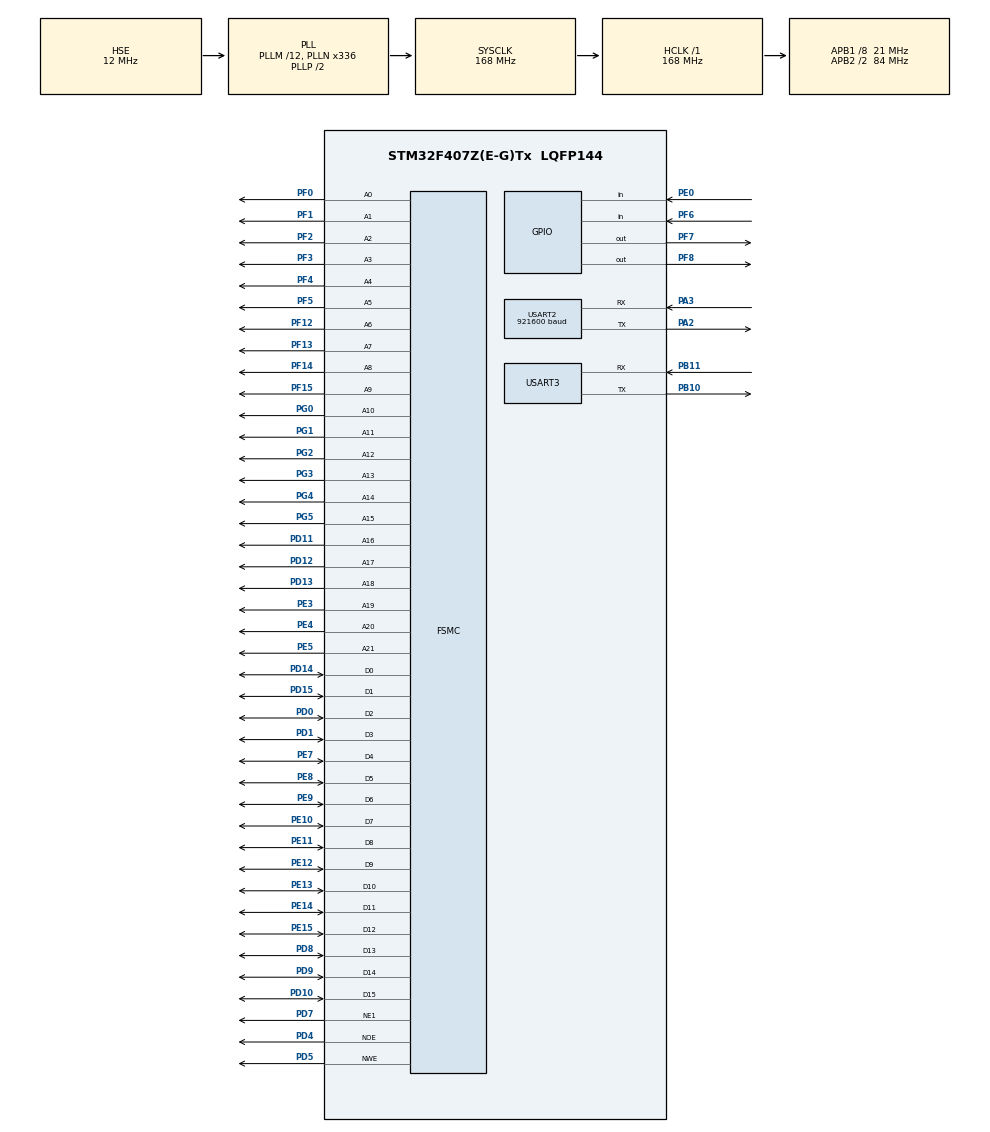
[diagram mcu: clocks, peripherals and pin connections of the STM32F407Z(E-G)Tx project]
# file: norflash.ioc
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Dma.Request0=USART3_RX
Dma.Request1=USART3_TX
Dma.Request2=USART2_RX
Dma.Request3=USART2_TX
Dma.USART2_RX.2.Direction=DMA_PERIPH_TO_MEMORY
Dma.USART2_RX.2.FIFOMode=DMA_FIFOMODE_DISABLE
Dma.USART2_RX.2.Instance=DMA1_Stream5
Dma.USART2_RX.2.MemDataAlignment=DMA_MDATAALIGN_BYTE
Dma.USART2_RX.2.MemInc=DMA_MINC_ENABLE
Dma.USART2_RX.2.Mode=DMA_NORMAL
Dma.USART2_RX.2.PeriphDataAlignment=DMA_PDATAALIGN_BYTE
Dma.USART2_RX.2.PeriphInc=DMA_PINC_DISABLE
Dma.USART2_RX.2.Priority=DMA_PRIORITY_LOW
Dma.USART2_TX.3.Direction=DMA_MEMORY_TO_PERIPH
Dma.USART2_TX.3.FIFOMode=DMA_FIFOMODE_DISABLE
Dma.USART2_TX.3.Instance=DMA1_Stream6
Dma.USART2_TX.3.MemDataAlignment=DMA_MDATAALIGN_BYTE
Dma.USART2_TX.3.MemInc=DMA_MINC_ENABLE
Dma.USART2_TX.3.Mode=DMA_NORMAL
Dma.USART2_TX.3.PeriphDataAlignment=DMA_PDATAALIGN_BYTE
Dma.USART2_TX.3.PeriphInc=DMA_PINC_DISABLE
Dma.USART2_TX.3.Priority=DMA_PRIORITY_LOW
Dma.USART3_RX.0.Direction=DMA_PERIPH_TO_MEMORY
Dma.USART3_RX.0.FIFOMode=DMA_FIFOMODE_DISABLE
Dma.USART3_RX.0.Instance=DMA1_Stream1
Dma.USART3_RX.0.MemDataAlignment=DMA_MDATAALIGN_BYTE
Dma.USART3_RX.0.MemInc=DMA_MINC_ENABLE
Dma.USART3_RX.0.Mode=DMA_NORMAL
Dma.USART3_RX.0.PeriphDataAlignment=DMA_PDATAALIGN_BYTE
Dma.USART3_RX.0.PeriphInc=DMA_PINC_DISABLE
Dma.USART3_RX.0.Priority=DMA_PRIORITY_LOW
Dma.USART3_TX.1.Direction=DMA_MEMORY_TO_PERIPH
Dma.USART3_TX.1.FIFOMode=DMA_FIFOMODE_DISABLE
Dma.USART3_TX.1.Instance=DMA1_Stream3
Dma.USART3_TX.1.MemDataAlignment=DMA_MDATAALIGN_BYTE
Dma.USART3_TX.1.MemInc=DMA_MINC_ENABLE
Dma.USART3_TX.1.Mode=DMA_NORMAL
Dma.USART3_TX.1.PeriphDataAlignment=DMA_PDATAALIGN_BYTE
Dma.USART3_TX.1.PeriphInc=DMA_PINC_DISABLE
Dma.USART3_TX.1.Priority=DMA_PRIORITY_LOW
FSMC.DataSetupTime1=40
FSMC.WriteOperation1=FSMC_WRITE_OPERATION_ENABLE
Mcu.Family=STM32F4
Mcu.Name=STM32F407Z(E-G)Tx
Mcu.Package=LQFP144
NVIC.DMA1_Stream1_IRQn=true\:0\:0\:false\:false\:true\:false\:true\:true
NVIC.DMA1_Stream3_IRQn=true\:0\:0\:false\:false\:true\:false\:true\:true
NVIC.DMA1_Stream5_IRQn=true\:0\:0\:false\:false\:true\:false\:true\:true
NVIC.DMA1_Stream6_IRQn=true\:0\:0\:false\:false\:true\:false\:true\:true
NVIC.PriorityGroup=NVIC_PRIORITYGROUP_4
NVIC.USART2_IRQn=true\:2\:0\:true\:true\:true\:1\:true\:true\:true
NVIC.USART3_IRQn=true\:2\:0\:true\:false\:true\:true\:true\:true
PA13.Mode=Serial_Wire
PA13.Signal=SYS_JTMS-SWDIO
PA14.Mode=Serial_Wire
PA14.Signal=SYS_JTCK-SWCLK
PA2.Mode=Asynchronous
PA2.Signal=USART2_TX
PA3.Mode=Asynchronous
PA3.Signal=USART2_RX
PB10.Mode=Asynchronous
PB10.Signal=USART3_TX
PB11.Mode=Asynchronous
PB11.Signal=USART3_RX
PC14-OSC32_IN.Mode=LSE-External-Oscillator
PC14-OSC32_IN.Signal=RCC_OSC32_IN
PC15-OSC32_OUT.Mode=LSE-External-Oscillator
PC15-OSC32_OUT.Signal=RCC_OSC32_OUT
PD0.Signal=FSMC_D2_DA2
PD1.Signal=FSMC_D3_DA3
PD10.Signal=FSMC_D15_DA15
PD11.Signal=FSMC_A16_CLE
PD12.Signal=FSMC_A17_ALE
PD13.Signal=FSMC_A18
PD14.Signal=FSMC_D0_DA0
PD15.Signal=FSMC_D1_DA1
PD4.Signal=FSMC_NOE
PD5.Signal=FSMC_NWE
PD7.Mode=NorPsramChipSelect1_1
PD7.Signal=FSMC_NE1
PD8.Signal=FSMC_D13_DA13
PD9.Signal=FSMC_D14_DA14
PE0.Signal=GPIO_Input
PE10.Signal=FSMC_D7_DA7
PE11.Signal=FSMC_D8_DA8
PE12.Signal=FSMC_D9_DA9
PE13.Signal=FSMC_D10_DA10
PE14.Signal=FSMC_D11_DA11
PE15.Signal=FSMC_D12_DA12
PE3.Signal=FSMC_A19
PE4.Signal=FSMC_A20
PE5.Signal=FSMC_A21
PE7.Signal=FSMC_D4_DA4
PE8.Signal=FSMC_D5_DA5
PE9.Signal=FSMC_D6_DA6
PF0.Signal=FSMC_A0
PF1.Signal=FSMC_A1
PF12.Signal=FSMC_A6
PF13.Signal=FSMC_A7
PF14.Signal=FSMC_A8
PF15.Signal=FSMC_A9
PF2.Signal=FSMC_A2
PF3.Signal=FSMC_A3
PF4.Signal=FSMC_A4
PF5.Signal=FSMC_A5
PF6.Signal=GPIO_Input
PF7.PinState=GPIO_PIN_SET
PF7.Signal=GPIO_Output
PF8.PinState=GPIO_PIN_SET
PF8.Signal=GPIO_Output
PG0.Signal=FSMC_A10
PG1.Signal=FSMC_A11
PG2.Signal=FSMC_A12
PG3.Signal=FSMC_A13
PG4.Signal=FSMC_A14
PG5.Signal=FSMC_A15
PH0-OSC_IN.Mode=HSE-External-Oscillator
PH0-OSC_IN.Signal=RCC_OSC_IN
PH1-OSC_OUT.Mode=HSE-External-Oscillator
PH1-OSC_OUT.Signal=RCC_OSC_OUT
ProjectManager.HeapSize=0x200
ProjectManager.StackSize=0x800
ProjectManager.TargetToolchain=STM32CubeIDE
RCC.48MHZClocksFreq_Value=42000000
RCC.AHBFreq_Value=168000000
RCC.APB1CLKDivider=RCC_HCLK_DIV8
RCC.APB1Freq_Value=21000000
RCC.APB1TimFreq_Value=42000000
RCC.APB2CLKDivider=RCC_HCLK_DIV2
RCC.APB2Freq_Value=84000000
RCC.APB2TimFreq_Value=168000000
RCC.CortexFreq_Value=168000000
RCC.HCLKFreq_Value=168000000
RCC.HSE_VALUE=12000000
RCC.HSI_VALUE=16000000
RCC.PLLM=12
RCC.PLLN=336
RCC.PLLQ=8
RCC.PLLSourceVirtual=RCC_PLLSOURCE_HSE
RCC.SYSCLKFreq_VALUE=168000000
RCC.SYSCLKSource=RCC_SYSCLKSOURCE_PLLCLK
RCC.VCOOutputFreq_Value=336000000
SH.FSMC_A0.0=FSMC_A0,22b-a1
SH.FSMC_A1.0=FSMC_A1,22b-a1
SH.FSMC_A10.0=FSMC_A10,22b-a1
SH.FSMC_A11.0=FSMC_A11,22b-a1
SH.FSMC_A12.0=FSMC_A12,22b-a1
SH.FSMC_A13.0=FSMC_A13,22b-a1
SH.FSMC_A14.0=FSMC_A14,22b-a1
SH.FSMC_A15.0=FSMC_A15,22b-a1
SH.FSMC_A16_CLE.0=FSMC_A16,22b-a1
SH.FSMC_A17_ALE.0=FSMC_A17,22b-a1
SH.FSMC_A18.0=FSMC_A18,22b-a1
SH.FSMC_A19.0=FSMC_A19,22b-a1
SH.FSMC_A2.0=FSMC_A2,22b-a1
SH.FSMC_A20.0=FSMC_A20,22b-a1
SH.FSMC_A21.0=FSMC_A21,22b-a1
SH.FSMC_A3.0=FSMC_A3,22b-a1
SH.FSMC_A4.0=FSMC_A4,22b-a1
SH.FSMC_A5.0=FSMC_A5,22b-a1
SH.FSMC_A6.0=FSMC_A6,22b-a1
SH.FSMC_A7.0=FSMC_A7,22b-a1
SH.FSMC_A8.0=FSMC_A8,22b-a1
SH.FSMC_A9.0=FSMC_A9,22b-a1
SH.FSMC_D0_DA0.0=FSMC_D0,16b-d1
SH.FSMC_D10_DA10.0=FSMC_D10,16b-d1
SH.FSMC_D11_DA11.0=FSMC_D11,16b-d1
SH.FSMC_D12_DA12.0=FSMC_D12,16b-d1
SH.FSMC_D13_DA13.0=FSMC_D13,16b-d1
SH.FSMC_D14_DA14.0=FSMC_D14,16b-d1
SH.FSMC_D15_DA15.0=FSMC_D15,16b-d1
SH.FSMC_D1_DA1.0=FSMC_D1,16b-d1
SH.FSMC_D2_DA2.0=FSMC_D2,16b-d1
SH.FSMC_D3_DA3.0=FSMC_D3,16b-d1
SH.FSMC_D4_DA4.0=FSMC_D4,16b-d1
SH.FSMC_D5_DA5.0=FSMC_D5,16b-d1
SH.FSMC_D6_DA6.0=FSMC_D6,16b-d1
SH.FSMC_D7_DA7.0=FSMC_D7,16b-d1
SH.FSMC_D8_DA8.0=FSMC_D8,16b-d1
SH.FSMC_D9_DA9.0=FSMC_D9,16b-d1
SH.FSMC_NOE.0=FSMC_NOE,NorFlash1
SH.FSMC_NWE.0=FSMC_NWE,NorFlash1
USART2.BaudRate=921600
USART2.VirtualMode=VM_ASYNC
USART3.VirtualMode=VM_ASYNC
board=custom

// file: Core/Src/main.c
/* USER CODE BEGIN Header */
/**
  ******************************************************************************
  * @file           : main.c
  * @brief          : Main program body
  ******************************************************************************
  * @attention
  *
  * Copyright (c) 2024 STMicroelectronics.
  * All rights reserved.
  *
  * This software is licensed under terms that can be found in the LICENSE file
  * in the root directory of this software component.
  * If no LICENSE file comes with this software, it is provided AS-IS.
  *
  ******************************************************************************
  */
/* USER CODE END Header */
#include "main.h"

/* USER CODE BEGIN Includes */
#include <stdio.h>
#include <string.h>
#include <stdarg.h>
#include "norflash.h"

/* USER CODE END Includes */

UART_HandleTypeDef huart2;
UART_HandleTypeDef huart3;
DMA_HandleTypeDef hdma_usart2_rx;
DMA_HandleTypeDef hdma_usart2_tx;
DMA_HandleTypeDef hdma_usart3_rx;
DMA_HandleTypeDef hdma_usart3_tx;

NOR_HandleTypeDef hnor1;

/* USER CODE BEGIN PV */

#define FIRMWARE_BUFFER_SIZE 1024
uint8_t uartRxBuffer[FIRMWARE_BUFFER_SIZE];

#define PACKET_TYPE_WRITE_FIRMWARE    0x01
#define PACKET_TYPE_READ_FIRMWARE     0x02
#define PACKET_TYPE_WRITE_DATA        0x03
#define PACKET_TYPE_READ_DATA         0x04
#define PACKET_TYPE_RESPONSE          0x80
#define PACKET_TYPE_MSG				  0x05
#define PACKET_TYPE_ERASE_BLOCK		  0x06
#define PACKET_TYPE_ERASE_ALL		  0x07
#define PACKET_TYPE_TEST			  0x08
#define PACKET_TYPE_RESET			  0x09

#define CMD_START                     0x01
#define CMD_DATA                      0x02
#define CMD_END                       0x03
#define CMD_ERROR                     0xFF

#define RESPONSE_OK                   0x00
#define RESPONSE_ERROR               0x01

#define MSG_BUF_SIZE 256

/* USER CODE END PD */

/* USER CODE BEGIN PTD */
#pragma pack(1)
typedef struct {
    uint8_t  packetType;
    uint8_t  command;
    uint32_t length;
    uint32_t addr;
    uint16_t crc;
} UartPacket;

typedef struct {
    uint8_t  packetType;
    uint8_t  status;
    uint16_t crc;
} UartResponse;

#pragma pack()

// Add DMA buffers and flags
#define DMA_RX_BUFFER_SIZE sizeof(UartPacket)
uint8_t dmaRxBuffer[DMA_RX_BUFFER_SIZE];
volatile uint8_t rxComplete = 0;

/* USER CODE END PV */

void SystemClock_Config(void);
static void MX_GPIO_Init(void);
static void MX_DMA_Init(void);
static void MX_FSMC_Init(void);
static void MX_USART2_UART_Init(void);
static void MX_USART3_UART_Init(void);
static void MX_NVIC_Init(void);

/* USER CODE BEGIN 0 */

int fputc(int ch, FILE *f) {
    HAL_UART_Transmit(&huart3, (uint8_t *)&ch, 1, HAL_MAX_DELAY);
    return ch;
}

int __io_putchar(int ch) {
    HAL_UART_Transmit(&huart3, (uint8_t *)&ch, 1, HAL_MAX_DELAY);
    return ch;
}

// CRC16
uint16_t CalculateCRC16(const uint8_t* data, uint32_t length) {
    uint16_t crc = 0xFFFF;

    for (uint32_t i = 0; i < length; i++) {
        crc ^= (uint16_t)data[i];
        for (int j = 0; j < 8; j++) {
            if (crc & 0x0001) {
                crc = (crc >> 1) ^ 0xA001;
            } else {
                crc >>= 1;
            }
        }
    }

    return crc;
}

void SendResponse(uint8_t originalType, uint8_t status) {
    UartResponse response = {
        .packetType = PACKET_TYPE_RESPONSE | originalType,
        .status = status
    };
    response.crc = CalculateCRC16((uint8_t*)&response, sizeof(UartResponse) - 2);
     // 使用阻塞式发送替代DMA
    HAL_UART_Transmit(&huart2, (uint8_t*)&response, sizeof(UartResponse), HAL_MAX_DELAY);
}

HAL_StatusTypeDef HandleFirmwareWrite(const UartPacket* packet) {
    uint32_t totalSize = packet->length;
    uint32_t remainingBytes = totalSize;
    uint32_t currentAddr = packet->addr;
    HAL_StatusTypeDef status;

    printf("HandleFirmwareWrite\r\n");
    printf("totalSize:%08x\r\n", (unsigned int)totalSize);
    printf("currentAddr:%08x\r\n", (unsigned int)currentAddr);

    HAL_UART_DMAStop(&huart2);
    HAL_UART_AbortReceive(&huart2);

    SendResponse(packet->packetType, RESPONSE_OK);

    while (remainingBytes > 0) {
        //printf("remainingBytes:%d\r\n", (int)remainingBytes);

        uint32_t blockSize = (remainingBytes>FIRMWARE_BUFFER_SIZE)?FIRMWARE_BUFFER_SIZE:remainingBytes;

        // 添加接收前的调试信息
        //printf("Waiting for data block, size: %d bytes\r\n", (int)blockSize);

        // 1. 使用HAL_UART_Receive接收数据
         // 每次接收前重置UART状�??
        HAL_UART_AbortReceive(&huart2);

        status = HAL_UART_Receive(&huart2, uartRxBuffer, blockSize, 5000);
        if (status != HAL_OK) {
            printf("UART receive failed, status: %d\r\n", (int)status);
            printf("HAL_UART_STATE: %d\r\n", (int)HAL_UART_GetState(&huart2));
            SendResponse(packet->packetType, RESPONSE_ERROR);
            return HAL_ERROR;
        }

        // 添加接收成功的调试信�???
        //printf("Data received successfully\r\n");

        //printf("nor flash write addr: 0x%08x, size: %d\r\n",
        //       (unsigned int)currentAddr, (int)blockSize);

        // 2. �???查NOR Flash写入结果
        //NOR_Status nor_status = HAL_NOR_ProgramBuffer(&hnor1, currentAddr, (uint16_t*)uartRxBuffer,
        //		blockSize/2);
        NOR_Status nor_status = FSMC_NOR_ProgramBuffer_Extended(&hnor1, (uint16_t*)uartRxBuffer,
                                                    currentAddr, blockSize/2);

        if (nor_status != NOR_SUCCESS) {
            printf("NOR write failed: %d\r\n", (int)nor_status);
            SendResponse(packet->packetType, RESPONSE_ERROR);
            return HAL_ERROR;
        }

        //printf("NOR write successful\r\n");

        remainingBytes -= blockSize;
        currentAddr += blockSize;

        //printf("Sending response\r\n");
        SendResponse(packet->packetType, RESPONSE_OK);
        //printf("Response sent, remaining: %d\r\n", (int)remainingBytes);

        // 添加短暂延时，确保上位机有足够时间处�???
        //HAL_Delay(1);
    }

    printf("HandleFirmwareWrite complete\r\n");
    return HAL_OK;
}

HAL_StatusTypeDef HandleFirmwareRead(const UartPacket* packet) {
    uint32_t readSize = packet->length;
    uint32_t remainingBytes = readSize;
    uint32_t currentAddr = packet->addr;

    SendResponse(packet->packetType, RESPONSE_OK);

    while (remainingBytes > 0) {
        uint32_t blockSize = (remainingBytes > FIRMWARE_BUFFER_SIZE) ?
                            FIRMWARE_BUFFER_SIZE : remainingBytes;

        UartPacket dataPacket = {
            .packetType = packet->packetType,
            .command = CMD_DATA,
            .length = blockSize,
            .addr = currentAddr
        };
        dataPacket.crc = CalculateCRC16((uint8_t*)&dataPacket, sizeof(UartPacket) - 2);

        if (HAL_UART_Transmit(&huart2, (uint8_t*)&dataPacket, sizeof(UartPacket), 1000) != HAL_OK) {
            return HAL_ERROR;
        }

        FSMC_NOR_ReadBuffer((uint16_t*)uartRxBuffer, currentAddr, blockSize/2);

        if (HAL_UART_Transmit(&huart2, uartRxBuffer, blockSize, 10000) != HAL_OK) {
            return HAL_ERROR;
        }

        remainingBytes -= blockSize;
        currentAddr += blockSize;

        UartResponse response;
        if (HAL_UART_Receive(&huart2, (uint8_t*)&response, sizeof(UartResponse), 5000) != HAL_OK) {
            return HAL_ERROR;
        }
    }

    return HAL_OK;
}

HAL_StatusTypeDef HandleEraseAll(const UartPacket* packet)
{
	printf("HandleEraseAll\r\n");
	NOR_Status ret = FSMC_NOR_EraseChip();
	printf("HandleEraseAll ret:%d\r\n", (int)ret);
	if(ret != HAL_NOR_STATUS_SUCCESS)
		return HAL_ERROR;
	else{
		SendResponse(packet->packetType, RESPONSE_OK);
		return HAL_OK;
	}

}

HAL_StatusTypeDef HandleEraseBlock(const UartPacket* packet) {

    uint32_t currentAddr = packet->addr;

    printf("HandleEraseBlock:%08x\r\n", (unsigned int)currentAddr);
    NOR_Status ret = FSMC_NOR_EraseBlock(currentAddr);
    printf("HandleEraseBlock ret:%d\r\n", (int)ret);
    if(ret != HAL_NOR_STATUS_SUCCESS)
    	return HAL_ERROR;
    else{
    	SendResponse(packet->packetType, RESPONSE_OK);
    	return HAL_OK;
    }

}

void SoftwareReset(void) {
    NVIC_SystemReset(); // 触发系统复位
}

void ProcessPacket(const UartPacket* packet) {
	int i=0;

    uint16_t calculatedCRC = CalculateCRC16((uint8_t*)packet, sizeof(UartPacket) - 2);
    if (calculatedCRC != packet->crc) {
        SendResponse(packet->packetType, RESPONSE_ERROR);
        printf("\nRecv data:\n");
        printf("Packet Type: 0x%02x\n", packet->packetType);
		printf("Command: 0x%02x\n", packet->command);
		printf("Length: 0x%08x\n", (unsigned int)packet->length);
		printf("Address: 0x%08x\n", (unsigned int)packet->addr);
		printf("CRC: 0x%04x\n", packet->crc);

        for(i = 0; i<sizeof(UartPacket);i++)
        	printf("0x%02x ", ((uint8_t*)packet)[i]);
        printf("bad crc recv:0x%04x calc:0x%04x\n", packet->crc, calculatedCRC);
        return;
    }

    switch (packet->packetType) {
        case PACKET_TYPE_WRITE_FIRMWARE:
            if (HandleFirmwareWrite(packet) != HAL_OK) {

                return;
            }
            break;

        case PACKET_TYPE_READ_FIRMWARE:
            if (HandleFirmwareRead(packet) != HAL_OK) {
                SendResponse(packet->packetType, RESPONSE_ERROR);
                return;
            }
            break;
        case PACKET_TYPE_ERASE_BLOCK:
        	if (HandleEraseBlock(packet) != HAL_OK) {
				SendResponse(packet->packetType, RESPONSE_ERROR);
				return;
			}
        	break;
        case PACKET_TYPE_ERASE_ALL:
        	if (HandleEraseAll(packet) != HAL_OK) {
        	    SendResponse(packet->packetType, RESPONSE_ERROR);
        	    return;
        	}
            break;
        case PACKET_TYPE_RESET:
        	SendResponse(packet->packetType, RESPONSE_OK);
        	HAL_Delay(300);
        	SoftwareReset();
        	break;
        default:
            SendResponse(packet->packetType, RESPONSE_ERROR);
            break;
    }
}
// Add DMA callback functions
void HAL_UART_RxCpltCallback(UART_HandleTypeDef *huart)
{
    if (huart == &huart2) {
        rxComplete = 1;
    }
}

/* USER CODE END 0 */

int main(void)
{

  /* USER CODE BEGIN 1 */
  NOR_IDTypeDef NOR_ID;
  /* USER CODE END 1 */

  /* MCU Configuration--------------------------------------------------------*/

  /* Reset of all peripherals, Initializes the Flash interface and the Systick. */
  HAL_Init();

  /* Configure the system clock */
  SystemClock_Config();

  /* Initialize all configured peripherals */
  MX_GPIO_Init();
  MX_DMA_Init();
  MX_FSMC_Init();
  MX_USART2_UART_Init();
  MX_USART3_UART_Init();

  /* Initialize interrupts */
  MX_NVIC_Init();
  /* USER CODE BEGIN 2 */

  HAL_Delay(200);
  //SD_Driver.disk_initialize(0);
  //printf_sdcard_info();
  printf("System started!\r\n");
  ReadICInfo(&hnor1);

  FSMC_NOR_ReadID(&NOR_ID);

  // 启动首次DMA接收
  HAL_UART_Receive_DMA(&huart2, dmaRxBuffer, DMA_RX_BUFFER_SIZE);
  /* USER CODE END 2 */

  /* Infinite loop */
  /* USER CODE BEGIN WHILE */
  while (1)
  {
    if (rxComplete) {
        rxComplete = 0;

        // 在处理数据包之前暂停DMA接收
        HAL_UART_DMAStop(&huart2);

        // 处理接收到的命令�???
        ProcessPacket((UartPacket*)dmaRxBuffer);

        // 清空DMA缓冲�???
        memset(dmaRxBuffer, 0, DMA_RX_BUFFER_SIZE);

        // 重新启动DMA接收下一个命令包
        HAL_UART_Receive_DMA(&huart2, dmaRxBuffer, DMA_RX_BUFFER_SIZE);
    }
    /* USER CODE END WHILE */

  }
}

void SystemClock_Config(void)
{
  RCC_OscInitTypeDef RCC_OscInitStruct = {0};
  RCC_ClkInitTypeDef RCC_ClkInitStruct = {0};

  /** Configure the main internal regulator output voltage
  */
  __HAL_RCC_PWR_CLK_ENABLE();
  __HAL_PWR_VOLTAGESCALING_CONFIG(PWR_REGULATOR_VOLTAGE_SCALE1);

  /** Initializes the RCC Oscillators according to the specified parameters
  * in the RCC_OscInitTypeDef structure.
  */
  RCC_OscInitStruct.OscillatorType = RCC_OSCILLATORTYPE_HSE;
  RCC_OscInitStruct.HSEState = RCC_HSE_ON;
  RCC_OscInitStruct.PLL.PLLState = RCC_PLL_ON;
  RCC_OscInitStruct.PLL.PLLSource = RCC_PLLSOURCE_HSE;
  RCC_OscInitStruct.PLL.PLLM = 12;
  RCC_OscInitStruct.PLL.PLLN = 336;
  RCC_OscInitStruct.PLL.PLLP = RCC_PLLP_DIV2;
  RCC_OscInitStruct.PLL.PLLQ = 8;
  if (HAL_RCC_OscConfig(&RCC_OscInitStruct) != HAL_OK)
  {
    Error_Handler();
  }

  /** Initializes the CPU, AHB and APB buses clocks
  */
  RCC_ClkInitStruct.ClockType = RCC_CLOCKTYPE_HCLK|RCC_CLOCKTYPE_SYSCLK
                              |RCC_CLOCKTYPE_PCLK1|RCC_CLOCKTYPE_PCLK2;
  RCC_ClkInitStruct.SYSCLKSource = RCC_SYSCLKSOURCE_PLLCLK;
  RCC_ClkInitStruct.AHBCLKDivider = RCC_SYSCLK_DIV1;
  RCC_ClkInitStruct.APB1CLKDivider = RCC_HCLK_DIV8;
  RCC_ClkInitStruct.APB2CLKDivider = RCC_HCLK_DIV2;

  if (HAL_RCC_ClockConfig(&RCC_ClkInitStruct, FLASH_LATENCY_5) != HAL_OK)
  {
    Error_Handler();
  }
}

/**
  * @brief NVIC Configuration.
  * @retval None
  */
static void MX_NVIC_Init(void)
{
  /* USART2_IRQn interrupt configuration */
  HAL_NVIC_SetPriority(USART2_IRQn, 2, 0);
  HAL_NVIC_EnableIRQ(USART2_IRQn);
}

static void MX_USART2_UART_Init(void)
{

  huart2.Instance = USART2;
  huart2.Init.BaudRate = 921600;
  huart2.Init.WordLength = UART_WORDLENGTH_8B;
  huart2.Init.StopBits = UART_STOPBITS_1;
  huart2.Init.Parity = UART_PARITY_NONE;
  huart2.Init.Mode = UART_MODE_TX_RX;
  huart2.Init.HwFlowCtl = UART_HWCONTROL_NONE;
  huart2.Init.OverSampling = UART_OVERSAMPLING_16;
  if (HAL_UART_Init(&huart2) != HAL_OK)
  {
    Error_Handler();
  }

}

static void MX_USART3_UART_Init(void)
{

  huart3.Instance = USART3;
  huart3.Init.BaudRate = 115200;
  huart3.Init.WordLength = UART_WORDLENGTH_8B;
  huart3.Init.StopBits = UART_STOPBITS_1;
  huart3.Init.Parity = UART_PARITY_NONE;
  huart3.Init.Mode = UART_MODE_TX_RX;
  huart3.Init.HwFlowCtl = UART_HWCONTROL_NONE;
  huart3.Init.OverSampling = UART_OVERSAMPLING_16;
  if (HAL_UART_Init(&huart3) != HAL_OK)
  {
    Error_Handler();
  }

}

static void MX_DMA_Init(void)
{

  /* DMA controller clock enable */
  __HAL_RCC_DMA1_CLK_ENABLE();

  /* DMA interrupt init */
  /* DMA1_Stream1_IRQn interrupt configuration */
  HAL_NVIC_SetPriority(DMA1_Stream1_IRQn, 0, 0);
  HAL_NVIC_EnableIRQ(DMA1_Stream1_IRQn);
  /* DMA1_Stream3_IRQn interrupt configuration */
  HAL_NVIC_SetPriority(DMA1_Stream3_IRQn, 0, 0);
  HAL_NVIC_EnableIRQ(DMA1_Stream3_IRQn);
  /* DMA1_Stream5_IRQn interrupt configuration */
  HAL_NVIC_SetPriority(DMA1_Stream5_IRQn, 0, 0);
  HAL_NVIC_EnableIRQ(DMA1_Stream5_IRQn);
  /* DMA1_Stream6_IRQn interrupt configuration */
  HAL_NVIC_SetPriority(DMA1_Stream6_IRQn, 0, 0);
  HAL_NVIC_EnableIRQ(DMA1_Stream6_IRQn);

}

static void MX_GPIO_Init(void)
{
  GPIO_InitTypeDef GPIO_InitStruct = {0};

  /* GPIO Ports Clock Enable */
  __HAL_RCC_GPIOE_CLK_ENABLE();
  __HAL_RCC_GPIOC_CLK_ENABLE();
  __HAL_RCC_GPIOF_CLK_ENABLE();
  __HAL_RCC_GPIOH_CLK_ENABLE();
  __HAL_RCC_GPIOA_CLK_ENABLE();
  __HAL_RCC_GPIOG_CLK_ENABLE();
  __HAL_RCC_GPIOB_CLK_ENABLE();
  __HAL_RCC_GPIOD_CLK_ENABLE();

  /*Configure GPIO pin Output Level */
  HAL_GPIO_WritePin(GPIOF, GPIO_PIN_7|GPIO_PIN_8, GPIO_PIN_SET);

  /*Configure GPIO pin : PF6 */
  GPIO_InitStruct.Pin = GPIO_PIN_6;
  GPIO_InitStruct.Mode = GPIO_MODE_INPUT;
  GPIO_InitStruct.Pull = GPIO_NOPULL;
  HAL_GPIO_Init(GPIOF, &GPIO_InitStruct);

  /*Configure GPIO pins : PF7 PF8 */
  GPIO_InitStruct.Pin = GPIO_PIN_7|GPIO_PIN_8;
  GPIO_InitStruct.Mode = GPIO_MODE_OUTPUT_PP;
  GPIO_InitStruct.Pull = GPIO_NOPULL;
  GPIO_InitStruct.Speed = GPIO_SPEED_FREQ_LOW;
  HAL_GPIO_Init(GPIOF, &GPIO_InitStruct);

  /*Configure GPIO pin : PE0 */
  GPIO_InitStruct.Pin = GPIO_PIN_0;
  GPIO_InitStruct.Mode = GPIO_MODE_INPUT;
  GPIO_InitStruct.Pull = GPIO_NOPULL;
  HAL_GPIO_Init(GPIOE, &GPIO_InitStruct);

}

/* FSMC initialization function */
static void MX_FSMC_Init(void)
{

  FSMC_NORSRAM_TimingTypeDef Timing = {0};

  /** Perform the NOR1 memory initialization sequence
  */
  hnor1.Instance = FSMC_NORSRAM_DEVICE;
  hnor1.Extended = FSMC_NORSRAM_EXTENDED_DEVICE;
  /* hnor1.Init */
  hnor1.Init.NSBank = FSMC_NORSRAM_BANK1;
  hnor1.Init.DataAddressMux = FSMC_DATA_ADDRESS_MUX_DISABLE;
  hnor1.Init.MemoryType = FSMC_MEMORY_TYPE_NOR;
  hnor1.Init.MemoryDataWidth = FSMC_NORSRAM_MEM_BUS_WIDTH_16;
  hnor1.Init.BurstAccessMode = FSMC_BURST_ACCESS_MODE_DISABLE;
  hnor1.Init.WaitSignalPolarity = FSMC_WAIT_SIGNAL_POLARITY_LOW;
  hnor1.Init.WrapMode = FSMC_WRAP_MODE_DISABLE;
  hnor1.Init.WaitSignalActive = FSMC_WAIT_TIMING_BEFORE_WS;
  hnor1.Init.WriteOperation = FSMC_WRITE_OPERATION_ENABLE;
  hnor1.Init.WaitSignal = FSMC_WAIT_SIGNAL_DISABLE;
  hnor1.Init.ExtendedMode = FSMC_EXTENDED_MODE_DISABLE;
  hnor1.Init.AsynchronousWait = FSMC_ASYNCHRONOUS_WAIT_DISABLE;
  hnor1.Init.WriteBurst = FSMC_WRITE_BURST_DISABLE;
  hnor1.Init.PageSize = FSMC_PAGE_SIZE_NONE;
  /* Timing */
  Timing.AddressSetupTime = 15;
  Timing.AddressHoldTime = 15;
  Timing.DataSetupTime = 40;
  Timing.BusTurnAroundDuration = 15;
  Timing.CLKDivision = 16;
  Timing.DataLatency = 17;
  Timing.AccessMode = FSMC_ACCESS_MODE_A;
  /* ExtTiming */

  if (HAL_NOR_Init(&hnor1, &Timing, NULL) != HAL_OK)
  {
    Error_Handler( );
  }

}

void Error_Handler(void)
{
  __disable_irq();
  while (1)
  {
  }
}
